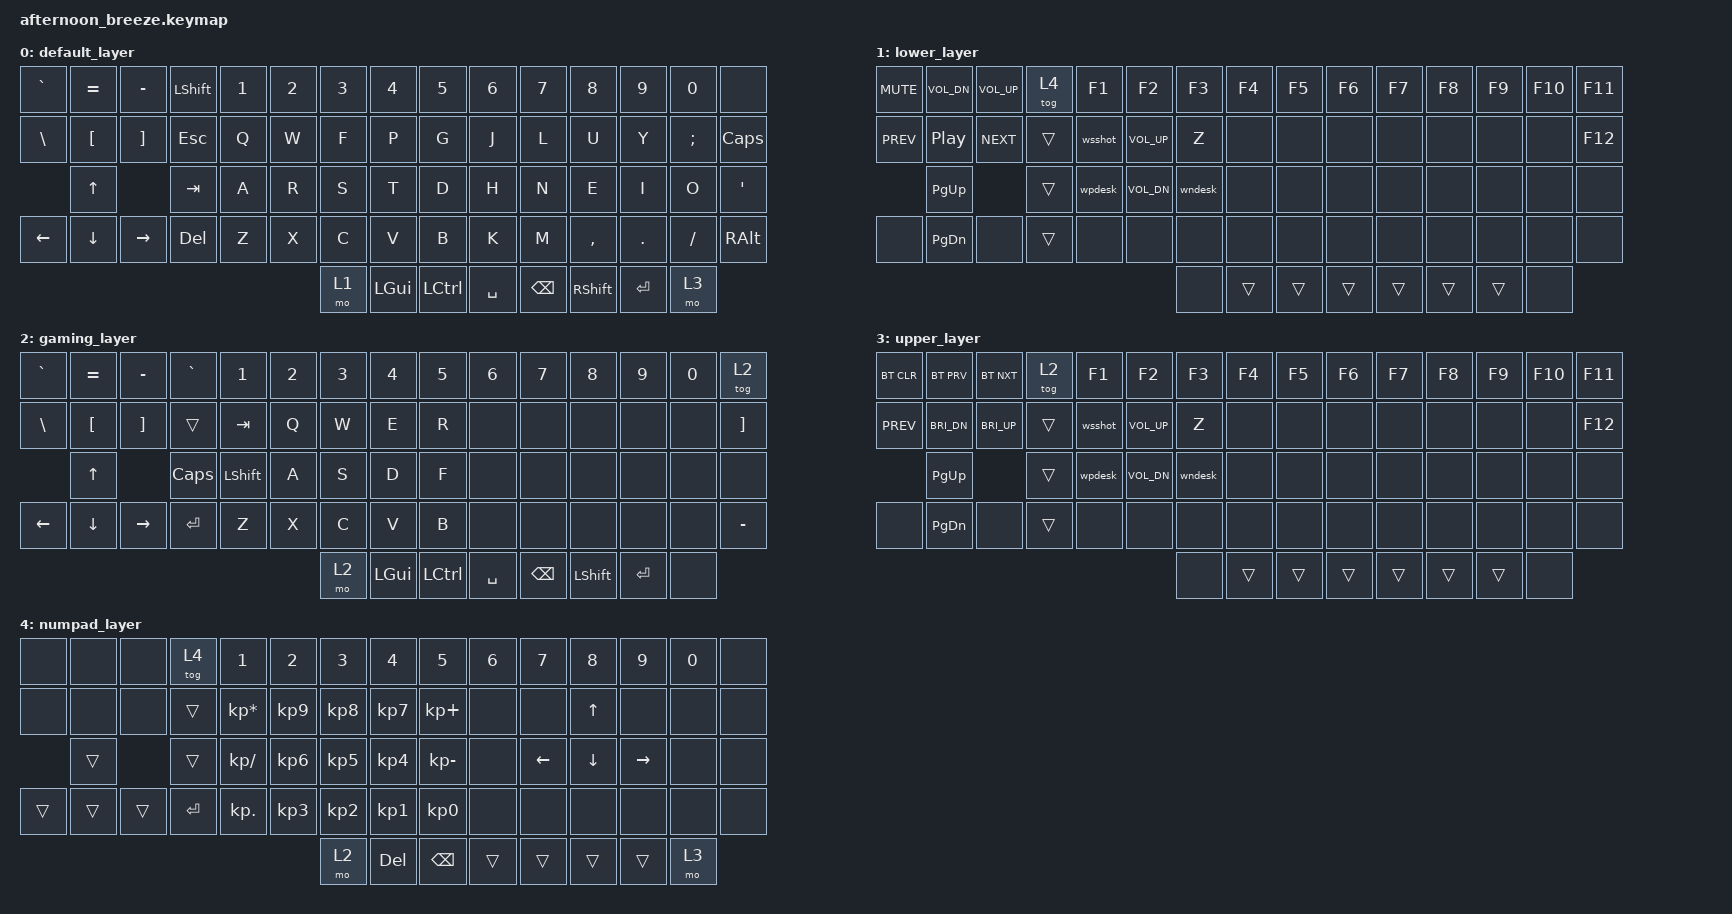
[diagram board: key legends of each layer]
/*
 * Copyright (c) 2022 The ZMK Contributors
 *
 * SPDX-License-Identifier: MIT
 */

#include <behaviors.dtsi>
#include <dt-bindings/zmk/keys.h>
#include <dt-bindings/zmk/bt.h>
#include <dt-bindings/zmk/ext_power.h>

#define DEFAULT 0
#define MAC 1
#define WINMOD 2
#define MACMOD 3
#define WINPAD 4
#define MACPAD 5

/ {

	macros {
		wsshot: wsshot {
            label = "Windows screenshot";
            compatible = "zmk,behavior-macro";
            #binding-cells = <0>;
            bindings =
				<&macro_press &kp LSHFT &kp LGUI>,
                <&macro_tap &kp S>,
                <&macro_release &kp LSHFT &kp LGUI>;
        };

        wpdesk: wpdesk {
            label = "Windows previous desktop";
            compatible = "zmk,behavior-macro";
            #binding-cells = <0>;
            bindings =
				<&macro_press &kp LCTRL &kp LGUI>,
                <&macro_tap &kp LEFT>,
                <&macro_release &kp LCTRL &kp LGUI>;
        };

		wndesk: wndesk {
			label = "Windows next desktop";
            compatible = "zmk,behavior-macro";
            #binding-cells = <0>;
            bindings =
				<&macro_press &kp LCTRL &kp LGUI>,
                <&macro_tap &kp RIGHT>,
                <&macro_release &kp LCTRL &kp LGUI>;
		};

		mpdesk: mpdesk {
			label = "Mac previous desktop";
            compatible = "zmk,behavior-macro";
            #binding-cells = <0>;
            bindings =
				<&macro_press &kp LCTRL>,
                <&macro_tap &kp LEFT>,
                <&macro_release &kp LCTRL>;
		};

		mndesk: mndesk {
			label = "Mac next desktop";
            compatible = "zmk,behavior-macro";
            #binding-cells = <0>;
            bindings =
				<&macro_press &kp LCTRL>,
                <&macro_tap &kp RIGHT>,
                <&macro_release &kp LCTRL>;
		};

		mmcontrol: mmcontrol {
			label = "Mac mission control";
            compatible = "zmk,behavior-macro";
            #binding-cells = <0>;
            bindings =
				<&macro_press &kp LCTRL>,
                <&macro_tap &kp UP>,
                <&macro_release &kp LCTRL>;
		};

		mcapp: mcapp {
			label = "Mac windows in current app";
            compatible = "zmk,behavior-macro";
            #binding-cells = <0>;
            bindings =
				<&macro_press &kp LCTRL>,
                <&macro_tap &kp DOWN>,
                <&macro_release &kp LCTRL>;
		};

		mwcycle: mwcycle {
			label = "Same app window cycle";
            compatible = "zmk,behavior-macro";
            #binding-cells = <0>;
            bindings =
				<&macro_press &kp LGUI>,
                <&macro_tap &kp GRAVE>,
                <&macro_release &kp LCTRL>;
		};
	};

	keymap {
		compatible = "zmk,keymap";
// Ref: https://zmkfirmware.dev/docs/codes/

		default_layer {
			bindings = <
&kp GRAVE &kp EQUAL  &kp MINUS		&kp LSHFT     &kp N1 &kp N2 &kp N3 &kp N4   &kp N5                          &kp N6     &kp N7   &kp N8    &kp N9  &kp N0   &none
&kp BSLH  &kp LBKT   &kp RBKT		&kp ESC     &kp Q  &kp W  &kp F  &kp P    &kp G                           &kp J      &kp L    &kp U     &kp Y   &kp SEMI &kp CAPS   
		  &kp UP 					&kp TAB     &kp A  &kp R  &kp S  &kp T    &kp D                           &kp H      &kp N    &kp E     &kp I   &kp O    &kp APOS  
&kp LEFT  &kp DOWN   &kp RIGHT		&kp DEL     &kp Z  &kp X  &kp C  &kp V    &kp B                           &kp K      &kp M    &kp COMMA &kp DOT &kp FSLH &kp RALT  
                          								&mo 1  &kp LGUI &kp LCTRL &kp SPACE     &kp BSPC &kp RSHIFT  &kp ENTER &mo 3
			>;
		};


		lower_layer {

			bindings = <
&kp C_MUTE 	&kp C_VOL_DN  &kp C_VOL_UP	&tog 4    &kp F1  &kp F2       &kp F3     &kp F4  &kp F5                       &kp F6  &kp F7  &kp F8  &kp F9 &kp F10 &kp F11      
&kp C_PREV  &kp C_PP   	  &kp C_NEXT	&trans    &wsshot &kp C_VOL_UP &kp Z      &none   &none                        &none   &none   &none   &none  &none   &kp F12 
		  	&kp PG_UP 					&trans    &wpdesk &kp C_VOL_DN &wndesk    &none   &none                        &none   &none   &none   &none  &none   &none     
&none  	    &kp PG_DN     &none		    &trans    &none   &none        &none      &none   &none                        &none   &none   &none   &none  &none   &none   
                             								 			 &none   &trans  &trans  &trans   		    &trans  &trans  &trans  &none
			>;
		};


		gaming_layer {
			bindings = <
&kp GRAVE &kp EQUAL  &kp MINUS	&kp GRAVE   &kp N1    &kp N2 &kp N3 &kp N4   &kp N5                         &kp N6  &kp N7  &kp N8  &kp N9  &kp N0  &tog 2      
&kp BSLH  &kp LBKT   &kp RBKT	&trans      &kp TAB   &kp Q    &kp W   &kp E   &kp R                        &none   &none   &none   &none   &none   &kp RBKT  
		  &kp UP 				&kp CAPS    &kp LSHFT &kp A    &kp S   &kp D   &kp F                        &none   &none   &none   &none   &none   &none
&kp LEFT  &kp DOWN   &kp RIGHT	&kp ENTER   &kp Z     &kp X    &kp C   &kp V   &kp B                        &none   &none   &none   &none   &none   &kp MINUS
                   								   &mo 2  &kp LGUI &kp LCTRL &kp SPACE              &kp BSPC &kp LSHIFT  &kp ENTER &none 
			>;
		};

		upper_layer {
			bindings = <
&bt BT_CLR  &bt BT_PRV     &bt BT_NXT		&tog 2    &kp F1  &kp F2       &kp F3     &kp F4  &kp F5                       &kp F6  &kp F7  &kp F8  &kp F9 &kp F10 &kp F11      
&kp C_PREV  &kp C_BRI_DN   &kp C_BRI_UP		&trans    &wsshot &kp C_VOL_UP &kp Z      &none   &none                        &none   &none   &none   &none  &none   &kp F12 
		  	&kp PG_UP 						&trans    &wpdesk &kp C_VOL_DN &wndesk    &none   &none                        &none   &none   &none   &none  &none   &none     
&none  	    &kp PG_DN      &none		    &trans    &none   &none        &none      &none   &none                        &none   &none   &none   &none  &none   &none   
                             								 			 &none   &trans  &trans  &trans   		    &trans  &trans  &trans  &none
			>;
		};


		numpad_layer {
			bindings = <
&none   &none   &none		&tog 4   	&kp N1    		 &kp N2 	&kp N3 		&kp N4   	&kp N5                         		&kp N6  &kp N7  	&kp N8  	&kp N9  	&kp N0 	&none     
&none   &none  	&none		&trans 		&kp KP_MULTIPLY  &kp KP_N9 	&kp KP_N8 	&kp KP_N7 	&kp KP_PLUS                       	&none  	&none     	&kp UP     	&none     	&none 	&none     
      	&trans				&trans  	&kp KP_DIVIDE    &kp KP_N6 	&kp KP_N5 	&kp KP_N4 	&kp KP_MINUS                      	&none  	&kp LEFT  	&kp DOWN   	&kp RIGHT 	&none 	&none
&trans	&trans 	&trans		&kp ENTER	&kp KP_DOT       &kp KP_N3 	&kp KP_N2 	&kp KP_N1 	&kp KP_N0                         	&none  	&none     	&none      	&none     	&none 	&none     
                             									     	&mo 2  &kp DEL  &kp BSPC   &trans                  &trans    &trans   &trans &mo 3
			>;
		};
	};
};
